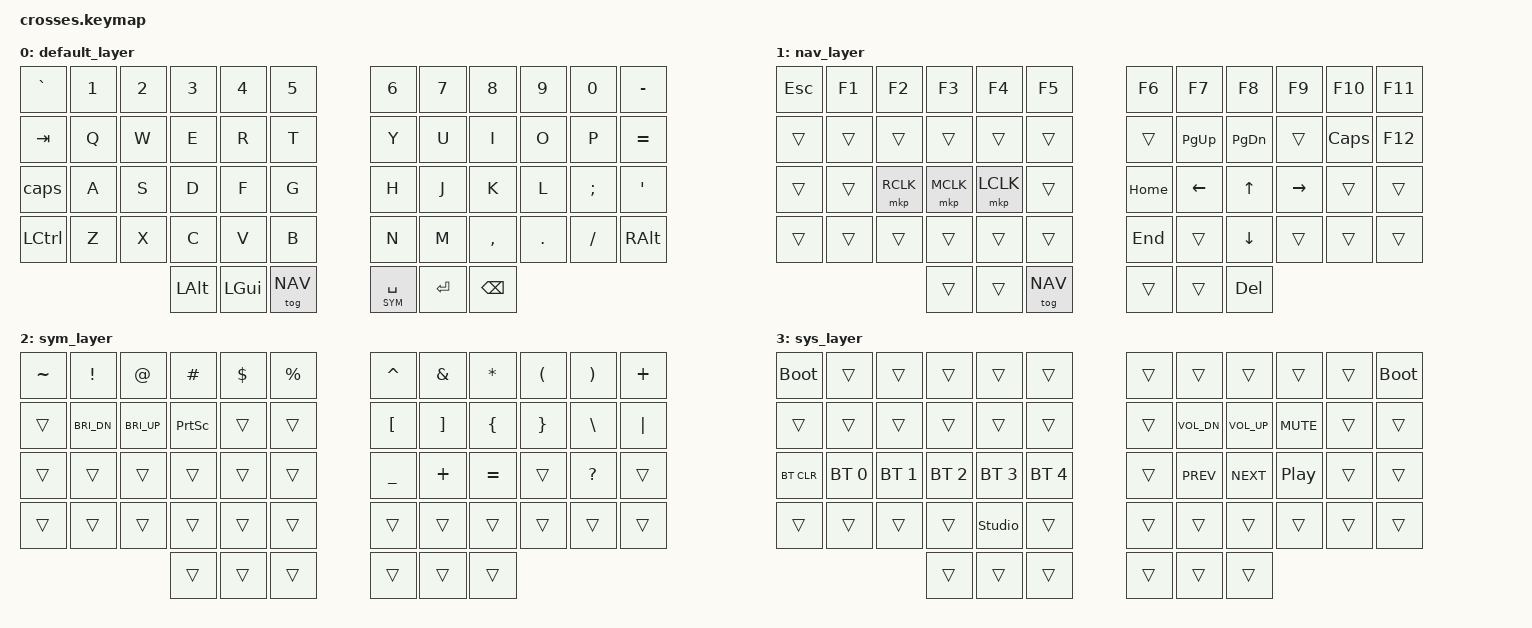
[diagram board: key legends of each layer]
#include <behaviors.dtsi>
#include <dt-bindings/zmk/keys.h>
#include <dt-bindings/zmk/bt.h>
#include <dt-bindings/zmk/pointing.h>

#define BASE 0
#define NAV  1
#define SYM  2
#define SYS  3

/ {
    conditional_layers {
        compatible = "zmk,conditional-layers";
        tri_layer {
            if-layers = <NAV SYM>;
            then-layer = <SYS>;
        };
    };

    behaviors {
        // Doble toque rápido en Shift activa Caps Word (se desactiva solo con espacio)
        caps: tap_dance_caps {
            compatible = "zmk,behavior-tap-dance";
            #binding-cells = <0>;
            tapping-term-ms = <200>;
            bindings = <&kp LSHFT>, <&caps_word>;
        };
    };

    keymap {
        compatible = "zmk,keymap";

        // =========================================================================
        // CAPA 0: BASE (54 TECLAS FÍSICAS - RYOKU / HYPRLAND / MAC)
        // =========================================================================
        default_layer {
            bindings = <
&kp GRAVE &kp N1    &kp N2    &kp N3    &kp N4    &kp N5                            &kp N6    &kp N7    &kp N8    &kp N9    &kp N0    &kp MINUS
&kp TAB   &kp Q     &kp W     &kp E     &kp R     &kp T                             &kp Y     &kp U     &kp I     &kp O     &kp P     &kp EQUAL
&caps     &kp A     &kp S     &kp D     &kp F     &kp G                             &kp H     &kp J     &kp K     &kp L     &kp SEMI  &kp SQT
&kp LCTRL &kp Z     &kp X     &kp C     &kp V     &kp B                             &kp N     &kp M     &kp COMMA &kp DOT   &kp FSLH  &kp RALT
                              &kp LALT  &kp LGUI  &tog NAV           &lt SYM SPACE &kp ENTER &kp BSPC
            >;
        };

        // =========================================================================
        // CAPA 1: NAV + MOUSE (Pulgar derecho: mo NAV)
        // =========================================================================
        nav_layer {
            bindings = <
&kp ESC   &kp F1    &kp F2    &kp F3    &kp F4    &kp F5                            &kp F6    &kp F7    &kp F8    &kp F9    &kp F10   &kp F11
&trans    &trans    &trans    &trans    &trans    &trans                            &trans    &kp PG_UP &kp PG_DN &trans    &kp CAPS  &kp F12
&trans    &trans    &mkp RCLK &mkp MCLK &mkp LCLK &trans                            &kp HOME  &kp LEFT  &kp UP    &kp RIGHT &trans    &trans
&trans    &trans    &trans    &trans    &trans    &trans                            &kp END   &trans    &kp DOWN  &trans    &trans    &trans
                              &trans    &trans    &tog NAV                  &trans    &trans    &kp DEL
            >;
        };

        // =========================================================================
        // CAPA 2: SYM + BRILLO + CAPTURA (Pulgar izquierdo: lt SYM SPACE)
        // =========================================================================
        sym_layer {
            bindings = <
&kp TILDE &kp EXCL       &kp AT       &kp HASH     &kp DLLR     &kp PRCNT               &kp CARET &kp AMPS  &kp STAR  &kp LPAR  &kp RPAR  &kp PLUS
&trans    &kp C_BRI_DN   &kp C_BRI_UP &kp PSCRN    &trans       &trans                  &kp LBKT  &kp RBKT  &kp LBRC  &kp RBRC  &kp BSLH  &kp PIPE
&trans    &trans         &trans       &trans       &trans       &trans                  &kp UNDER &kp PLUS  &kp EQUAL &trans    &kp QMARK &trans
&trans    &trans         &trans       &trans       &trans       &trans                  &trans    &trans    &trans    &trans    &trans    &trans
                                      &trans       &trans       &trans        &trans    &trans    &trans
            >;
        };

        // =========================================================================
        // CAPA 3: SYS / BLUETOOTH / AUDIO / UNLOCK (Ambos pulgares sostenidos)
        // =========================================================================
        sys_layer {
            bindings = <
&bootloader &trans       &trans       &trans       &trans         &trans               &trans    &trans       &trans       &trans     &trans &bootloader
&trans      &trans       &trans       &trans       &trans         &trans               &trans    &kp C_VOL_DN &kp C_VOL_UP &kp C_MUTE &trans &trans
&bt BT_CLR  &bt BT_SEL 0 &bt BT_SEL 1 &bt BT_SEL 2 &bt BT_SEL 3   &bt BT_SEL 4         &trans    &kp C_PREV   &kp C_NEXT   &kp C_PP   &trans &trans
&trans      &trans       &trans       &trans       &studio_unlock &trans               &trans    &trans       &trans       &trans     &trans &trans
                                      &trans       &trans         &trans     &trans    &trans    &trans
            >;
        };
    };
};
